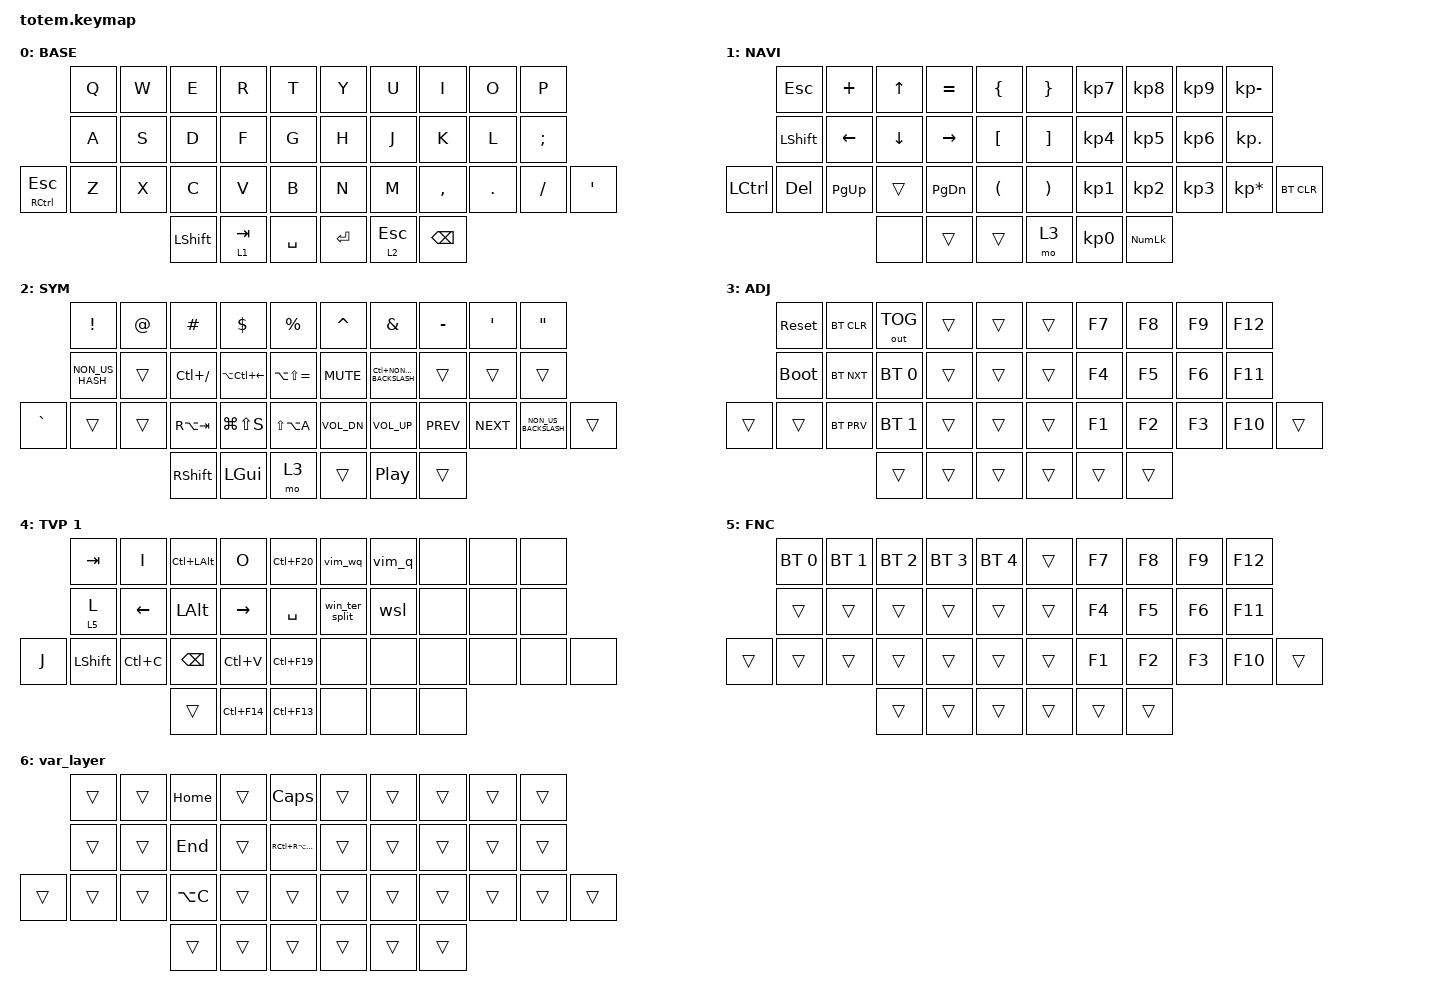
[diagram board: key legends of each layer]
//
//                                                        ▀▀▀▀▀     ▀▀▀▀▀          ▀▀█▀▀
//                                                        ▄▀▀▀▄  ▄  ▄▀▀▀▄  ▄  ▄▀▀▀▄  █  ▄▀▀▀▄
//                                                        █   █  █  █   █  █  █   █  █  █   █
//                                                         ▀▀▀   █   ▀▀▀   █   ▀▀▀   ▀   ▀▀▀
//                                                               █      ▄▄▄█▄▄▄    █   █  
//                                                               ▀      █  █  █     █▄█
//                                                             ▀▀▀▀▀    █  █  █      ▀
//                                                                      ▀  ▀  ▀
//
// ▄▄▄▄▄▄▄▄▄▄▄▄▄▄▄▄▄▄▄▄▄▄▄▄▄▄▄▄▄▄▄▄▄▄▄▄▄▄▄▄▄▄▄▄▄▄▄▄▄▄▄▄▄▄▄▄▄▄▄▄▄▄▄▄▄▄▄▄▄▄▄▄▄▄▄▄▄▄▄▄▄▄▄▄▄▄▄▄▄▄▄▄▄▄▄▄▄▄▄▄▄▄▄▄▄▄▄▄▄▄▄▄▄▄▄▄▄▄▄▄▄▄▄▄▄▄▄▄▄▄▄▄▄▄▄▄▄▄▄▄▄▄▄▄▄▄▄▄▄

#include <behaviors.dtsi>
#include <dt-bindings/zmk/bt.h>
#include <dt-bindings/zmk/keys.h>
#include <dt-bindings/zmk/outputs.h>

#define BASE 0
#define NAV  1
#define SYM  2
#define ADJ  3
#define TVP1 4
#define TVP2 5

&mt {
    quick-tap-ms = <100>;
    global-quick-tap;
    flavor = "tap-preferred";
    tapping-term-ms = <170>;
};

/ {
    combos {
        compatible = "zmk,combos";

        combo_tvp {
            timeout-ms = <100>;
            key-positions = <11 12 13>;
            bindings = <&tog 4>;
        };

        layers {
            bindings = <&tog 5>;
            key-positions = <23 24 22>;
            timeout-ms = <100>;
        };

        var_layer {
            bindings = <&tog 6>;
            key-positions = <16 17 18>;
            timeout-ms = <100>;
        };

        end {
            bindings = <&kp END>;
            key-positions = <8 9>;
        };

        home {
            bindings = <&kp HOME>;
            key-positions = <0 1>;
        };

        wombo {
            bindings = <&wombo>;
            key-positions = <2 6 7>;
        };
    };

    macros {
        gif: gif {
            label = "giphy";
            compatible = "zmk,behavior-macro";
            #binding-cells = <0>;
            bindings =
                <&macro_press>,
                <&kp LSHFT>,
                <&macro_tap>,
                <&kp N2>,
                <&macro_release>,
                <&kp LSHFT>,
                <&macro_tap>,
                <&kp G &kp I &kp F>;
        };

        vim_wq: vim_wq {
            compatible = "zmk,behavior-macro";
            #binding-cells = <0>;
            bindings = <&kp COLON &kp W &kp Q &kp EXCL &kp RET>;
            label = "VIM_WQ";
        };

        vim_q: vim_q {
            compatible = "zmk,behavior-macro";
            #binding-cells = <0>;
            bindings = <&kp COLON &kp Q &kp EXCL &kp RET>;
            label = "VIM_Q";
        };

        win_ter_split: terminal_split {
            compatible = "zmk,behavior-macro";
            #binding-cells = <0>;
            bindings =
                <&macro_press>,
                <&kp LEFT_ALT &kp LEFT_SHIFT>,
                <&macro_tap>,
                <&kp EQUAL>,
                <&macro_release>,
                <&kp LEFT_ALT &kp LEFT_SHIFT>;

            label = "TERMINAL_SPLIT";
        };

        wsl: wsl {
            compatible = "zmk,behavior-macro";
            #binding-cells = <0>;
            bindings =
                <&macro_press>,
                <&kp LEFT_WIN>,
                <&macro_tap>,
                <&kp NUMBER_1>,
                <&macro_release>,
                <&kp LEFT_WIN>,
                <&macro_tap>,
                <&kp W &kp S &kp L &kp RET>;

            label = "WSL";
        };

        wombo: wombo {
            compatible = "zmk,behavior-macro";
            #binding-cells = <0>;
            bindings = <&kp LS(C) &kp LS(L) &kp P &kp R &kp X &kp LS(Y) &kp J &kp O &kp C &kp Z &kp Z &kp Q &kp R &kp N9 &kp S &kp LS(J) &kp Z &kp Q &kp LS(F) &kp N2 &kp N7 &kp T &kp LS(W) &kp LS(X) &kp N2 &kp N4 &kp F &kp LS(V) &kp T &kp T &kp EXCL>;
            label = "WOMBO";
        };
    };

    keymap {
        compatible = "zmk,keymap";

        // ▄▄▄▄▄▄▄▄▄▄▄▄▄▄▄▄▄▄▄▄▄▄▄▄▄▄▄▄▄▄▄▄▄▄▄▄▄▄▄▄▄▄▄▄▄▄▄▄▄▄▄▄▄▄▄▄▄▄▄▄▄▄▄▄▄▄▄▄▄▄▄▄▄▄▄▄▄▄▄▄▄▄▄▄▄▄▄▄▄▄▄▄▄▄▄▄▄▄▄▄▄▄▄▄▄▄▄▄▄▄▄▄▄▄▄▄▄▄▄▄▄▄▄▄▄▄▄▄▄▄▄▄▄▄▄▄▄▄▄▄▄▄▄▄▄▄▄▄▄

        base_layer {
            // ┏━━━━━━━━━━━━━━━━━━━━━━━━━━━━━━━━━━━━━━━┓

            label = "BASE";

            // ┗━━━━━━━━━━━━━━━━━━━━━━━━━━━━━━━━━━━━━━━┛
            //             ┏━━━━━━━━━━━┳━━━━━━━━━━━┳━━━━━━━━━━━┳━━━━━━━━━━━┳━━━━━━━━━━━┓   ┏━━━━━━━━━━━┳━━━━━━━━━━━┳━━━━━━━━━━━┳━━━━━━━━━━━┳━━━━━━━━━━━┓
            //             ┃     Q     ┃     W     ┃     F     ┃     P     ┃     G     ┃   ┃     J     ┃     L     ┃     U     ┃     Y     ┃     ;     ┃
            //             ┣━━━━━━━━━━━╋━━━━━━━━━━━╋━━━━━━━━━━━╋━━━━━━━━━━━╋━━━━━━━━━━━┫   ┣━━━━━━━━━━━╋━━━━━━━━━━━╋━━━━━━━━━━━╋━━━━━━━━━━━╋━━━━━━━━━━━┫
            //             ┃     A     ┃     R     ┃     S     ┃     T     ┃     D     ┃   ┃     H     ┃     N     ┃     E     ┃     I     ┃     O     ┃
            // ┏━━━━━━━━━━━╋━━━━━━━━━━━╋━━━━━━━━━━━╋━━━━━━━━━━━╋━━━━━━━━━━━╋━━━━━━━━━━━┫   ┣━━━━━━━━━━━╋━━━━━━━━━━━╋━━━━━━━━━━━╋━━━━━━━━━━━╋━━━━━━━━━━━╋━━━━━━━━━━━┓
            // ┃     Q     ┃     Z     ┃     X     ┃     C     ┃     V     ┃     B     ┃   ┃     K     ┃     M     ┃     ,     ┃     .     ┃     /     ┃     \     ┃
            // ┗━━━━━━━━━━━┻━━━━━━━━━━━┻━━━━━━━━━━━╋━━━━━━━━━━━╋━━━━━━━━━━━╋━━━━━━━━━━━┫   ┣━━━━━━━━━━━╋━━━━━━━━━━━╋━━━━━━━━━━━╋━━━━━━━━━━━┻━━━━━━━━━━━┻━━━━━━━━━━━┛
            //                                     ┃    DEL    ┃    TAB    ┃    SPC    ┃   ┃   ENTER   ┃           ┃   BSPC    ┃
            //                                     ┗━━━━━━━━━━━┻━━━━━━━━━━━┻━━━━━━━━━━━┛   ┗━━━━━━━━━━━┻━━━━━━━━━━━┻━━━━━━━━━━━┛

            bindings = <
               &kp Q  &kp W  &kp E           &kp R      &kp T        &kp Y    &kp U      &kp I      &kp O    &kp P
               &kp A  &kp S  &kp D           &kp F      &kp G        &kp H    &kp J      &kp K      &kp L    &kp SEMI
&mt RCTRL ESC  &kp Z  &kp X  &kp C           &kp V      &kp B        &kp N    &kp M      &kp COMMA  &kp DOT  &kp FSLH  &kp APOS
                             &kp LEFT_SHIFT  &lt 1 TAB  &kp SPACE    &kp RET  &lt 2 ESC  &kp BSPC
            >;
        };

        // ▄▄▄▄▄▄▄▄▄▄▄▄▄▄▄▄▄▄▄▄▄▄▄▄▄▄▄▄▄▄▄▄▄▄▄▄▄▄▄▄▄▄▄▄▄▄▄▄▄▄▄▄▄▄▄▄▄▄▄▄▄▄▄▄▄▄▄▄▄▄▄▄▄▄▄▄▄▄▄▄▄▄▄▄▄▄▄▄▄▄▄▄▄▄▄▄▄▄▄▄▄▄▄▄▄▄▄▄▄▄▄▄▄▄▄▄▄▄▄▄▄▄▄▄▄▄▄▄▄▄▄▄▄▄▄▄▄▄▄▄▄▄▄▄▄▄▄▄▄

        nav_layer {
            // ┏━━━━━━━━━━━━━━━━━━━━━━━━━━━━━━━━━━━━━━━┓

            label = "NAVI";

            // ┗━━━━━━━━━━━━━━━━━━━━━━━━━━━━━━━━━━━━━━━┛
            //             ┏━━━━━━━━━━━┳━━━━━━━━━━━┳━━━━━━━━━━━┳━━━━━━━━━━━┳━━━━━━━━━━━┓   ┏━━━━━━━━━━━┳━━━━━━━━━━━┳━━━━━━━━━━━┳━━━━━━━━━━━┳━━━━━━━━━━━┓
            //             ┃           ┃           ┃     UP    ┃           ┃     {     ┃   ┃     }     ┃     7     ┃     8     ┃     9     ┃     +     ┃
            //             ┣━━━━━━━━━━━╋━━━━━━━━━━━╋━━━━━━━━━━━╋━━━━━━━━━━━╋━━━━━━━━━━━┫   ┣━━━━━━━━━━━╋━━━━━━━━━━━╋━━━━━━━━━━━╋━━━━━━━━━━━╋━━━━━━━━━━━┫
            //             ┃   SHIFT   ┃   LEFT    ┃    DOWN   ┃   RIGHT   ┃     [     ┃   ┃     ]     ┃     4     ┃     5     ┃     6     ┃     -     ┃
            // ┏━━━━━━━━━━━╋━━━━━━━━━━━╋━━━━━━━━━━━╋━━━━━━━━━━━╋━━━━━━━━━━━╋━━━━━━━━━━━┫   ┣━━━━━━━━━━━╋━━━━━━━━━━━╋━━━━━━━━━━━╋━━━━━━━━━━━╋━━━━━━━━━━━╋━━━━━━━━━━━┓
            // ┃           ┃           ┃   P UP    ┃  C LOCK   ┃  P DOWN   ┃     (     ┃   ┃     )     ┃     1     ┃     2     ┃     3     ┃     *     ┃           ┃
            // ┗━━━━━━━━━━━┻━━━━━━━━━━━┻━━━━━━━━━━━╋━━━━━━━━━━━╋━━━━━━━━━━━╋━━━━━━━━━━━┫   ┣━━━━━━━━━━━╋━━━━━━━━━━━╋━━━━━━━━━━━╋━━━━━━━━━━━┻━━━━━━━━━━━┻━━━━━━━━━━━┛
            //                                     ┃           ┃    TAB    ┃    SPC    ┃   ┃    DEL    ┃     0     ┃           ┃
            //                                     ┗━━━━━━━━━━━┻━━━━━━━━━━━┻━━━━━━━━━━━┛   ┗━━━━━━━━━━━┻━━━━━━━━━━━┻━━━━━━━━━━━┛

            bindings = <
                  &kp ESC    &kp PLUS   &kp UP    &kp EQUAL  &kp LBRC    &kp RBRC  &kp KP_N7  &kp KP_N8   &kp KP_N9  &kp KP_MINUS
                  &kp LSHFT  &kp LEFT   &kp DOWN  &kp RIGHT  &kp LBKT    &kp RBKT  &kp KP_N4  &kp KP_N5   &kp KP_N6  &kp KP_DOT
&kp LEFT_CONTROL  &kp DEL    &kp PG_UP  &trans    &kp PG_DN  &kp LPAR    &kp RPAR  &kp KP_N1  &kp KP_N2   &kp KP_N3  &kp KP_MULTIPLY  &bt BT_CLR
                                        &none     &trans     &trans      &mo 3     &kp KP_N0  &kp KP_NUM
            >;
        };

        // ▄▄▄▄▄▄▄▄▄▄▄▄▄▄▄▄▄▄▄▄▄▄▄▄▄▄▄▄▄▄▄▄▄▄▄▄▄▄▄▄▄▄▄▄▄▄▄▄▄▄▄▄▄▄▄▄▄▄▄▄▄▄▄▄▄▄▄▄▄▄▄▄▄▄▄▄▄▄▄▄▄▄▄▄▄▄▄▄▄▄▄▄▄▄▄▄▄▄▄▄▄▄▄▄▄▄▄▄▄▄▄▄▄▄▄▄▄▄▄▄▄▄▄▄▄▄▄▄▄▄▄▄▄▄▄▄▄▄▄▄▄▄▄▄▄▄▄▄▄

        sim_layer {
            // ┏━━━━━━━━━━━━━━━━━━━━━━━━━━━━━━━━━━━━━━━┓

            label = "SYM";

            // ┗━━━━━━━━━━━━━━━━━━━━━━━━━━━━━━━━━━━━━━━┛
            //             ┏━━━━━━━━━━━┳━━━━━━━━━━━┳━━━━━━━━━━━┳━━━━━━━━━━━┳━━━━━━━━━━━┓   ┏━━━━━━━━━━━┳━━━━━━━━━━━┳━━━━━━━━━━━┳━━━━━━━━━━━┳━━━━━━━━━━━┓
            //             ┃     !     ┃     @     ┃     #     ┃     $     ┃     %     ┃   ┃     ˆ     ┃     &     ┃     Ü     ┃     '     ┃     "     ┃
            //             ┣━━━━━━━━━━━╋━━━━━━━━━━━╋━━━━━━━━━━━╋━━━━━━━━━━━╋━━━━━━━━━━━┫   ┣━━━━━━━━━━━╋━━━━━━━━━━━╋━━━━━━━━━━━╋━━━━━━━━━━━╋━━━━━━━━━━━┫
            //             ┃     Ä     ┃           ┃    SZ     ┃           ┃           ┃   ┃   MUTE    ┃   YEN     ┃   EURO    ┃  POUND    ┃     Ö     ┃
            // ┏━━━━━━━━━━━╋━━━━━━━━━━━╋━━━━━━━━━━━╋━━━━━━━━━━━╋━━━━━━━━━━━╋━━━━━━━━━━━┫   ┣━━━━━━━━━━━╋━━━━━━━━━━━╋━━━━━━━━━━━╋━━━━━━━━━━━╋━━━━━━━━━━━╋━━━━━━━━━━━┓
            // ┃           ┃  EMAIL1   ┃  EMAIL2   ┃           ┃           ┃           ┃   ┃   VOL-    ┃   VOL+    ┃   LAST    ┃   NEXT    ┃     \     ┃           ┃
            // ┗━━━━━━━━━━━┻━━━━━━━━━━━┻━━━━━━━━━━━╋━━━━━━━━━━━╋━━━━━━━━━━━╋━━━━━━━━━━━┫   ┣━━━━━━━━━━━╋━━━━━━━━━━━╋━━━━━━━━━━━╋━━━━━━━━━━━┻━━━━━━━━━━━┻━━━━━━━━━━━┛
            //                                     ┃           ┃    GIF    ┃    ADJ    ┃   ┃           ┃           ┃           ┃
            //                                     ┗━━━━━━━━━━━┻━━━━━━━━━━━┻━━━━━━━━━━━┛   ┗━━━━━━━━━━━┻━━━━━━━━━━━┻━━━━━━━━━━━┛

            bindings = <
           &kp EXCL         &kp AT  &kp HASH         &kp DLLR                &kp PRCNT            &kp CARET     &kp AMPS                  &kp MINUS   &kp SQT     &kp DQT
           &kp NON_US_HASH  &trans  &kp LC(SLASH)    &kp LA(LC(LEFT_ARROW))  &kp LA(LS(EQUAL))    &kp C_MUTE    &kp LC(NON_US_BACKSLASH)  &trans      &trans      &trans
&kp GRAVE  &trans           &trans  &kp RA(TAB)      &kp LG(LS(S))           &kp LS(LA(A))        &kp C_VOL_DN  &kp C_VOL_UP              &kp C_PREV  &kp C_NEXT  &kp NON_US_BACKSLASH  &trans
                                    &kp RIGHT_SHIFT  &kp LEFT_GUI            &mo 3                &trans        &kp C_PP                  &trans
            >;
        };

        // ▄▄▄▄▄▄▄▄▄▄▄▄▄▄▄▄▄▄▄▄▄▄▄▄▄▄▄▄▄▄▄▄▄▄▄▄▄▄▄▄▄▄▄▄▄▄▄▄▄▄▄▄▄▄▄▄▄▄▄▄▄▄▄▄▄▄▄▄▄▄▄▄▄▄▄▄▄▄▄▄▄▄▄▄▄▄▄▄▄▄▄▄▄▄▄▄▄▄▄▄▄▄▄▄▄▄▄▄▄▄▄▄▄▄▄▄▄▄▄▄▄▄▄▄▄▄▄▄▄▄▄▄▄▄▄▄▄▄▄▄▄▄▄▄▄▄▄▄▄

        adjust_layer {
            // ┏━━━━━━━━━━━━━━━━━━━━━━━━━━━━━━━━━━━━━━━┓

            label = "ADJ";

            // ┗━━━━━━━━━━━━━━━━━━━━━━━━━━━━━━━━━━━━━━━┛
            //             ┏━━━━━━━━━━━┳━━━━━━━━━━━┳━━━━━━━━━━━┳━━━━━━━━━━━┳━━━━━━━━━━━┓   ┏━━━━━━━━━━━┳━━━━━━━━━━━┳━━━━━━━━━━━┳━━━━━━━━━━━┳━━━━━━━━━━━┓
            //             ┃   RESET   ┃ BT CLEAR  ┃  OUT TOG  ┃           ┃           ┃   ┃           ┃    F7     ┃    F8     ┃    F9     ┃    F12    ┃
            //             ┣━━━━━━━━━━━╋━━━━━━━━━━━╋━━━━━━━━━━━╋━━━━━━━━━━━╋━━━━━━━━━━━┫   ┣━━━━━━━━━━━╋━━━━━━━━━━━╋━━━━━━━━━━━╋━━━━━━━━━━━╋━━━━━━━━━━━┫
            //             ┃ BOOTLOAD  ┃ BT NEXT   ┃           ┃           ┃           ┃   ┃           ┃    F4     ┃    F5     ┃    F6     ┃    F11    ┃
            // ┏━━━━━━━━━━━╋━━━━━━━━━━━╋━━━━━━━━━━━╋━━━━━━━━━━━╋━━━━━━━━━━━╋━━━━━━━━━━━┫   ┣━━━━━━━━━━━╋━━━━━━━━━━━╋━━━━━━━━━━━╋━━━━━━━━━━━╋━━━━━━━━━━━╋━━━━━━━━━━━┓
            // ┃           ┃           ┃ BT PREV   ┃           ┃           ┃           ┃   ┃           ┃    F1     ┃    F2     ┃    F3     ┃    F10    ┃           ┃
            // ┗━━━━━━━━━━━┻━━━━━━━━━━━┻━━━━━━━━━━━╋━━━━━━━━━━━╋━━━━━━━━━━━╋━━━━━━━━━━━┫   ┣━━━━━━━━━━━╋━━━━━━━━━━━╋━━━━━━━━━━━╋━━━━━━━━━━━┻━━━━━━━━━━━┻━━━━━━━━━━━┛
            //                                     ┃           ┃           ┃           ┃   ┃           ┃           ┃           ┃
            //                                     ┗━━━━━━━━━━━┻━━━━━━━━━━━┻━━━━━━━━━━━┛   ┗━━━━━━━━━━━┻━━━━━━━━━━━┻━━━━━━━━━━━┛

            bindings = <
        &sys_reset   &bt BT_CLR  &out OUT_TOG  &trans  &trans    &trans  &kp F7  &kp F8  &kp F9  &kp F12
        &bootloader  &bt BT_NXT  &bt BT_SEL 0  &trans  &trans    &trans  &kp F4  &kp F5  &kp F6  &kp F11
&trans  &trans       &bt BT_PRV  &bt BT_SEL 1  &trans  &trans    &trans  &kp F1  &kp F2  &kp F3  &kp F10  &trans
                                 &trans        &trans  &trans    &trans  &trans  &trans
            >;
        };

        // ▄▄▄▄▄▄▄▄▄▄▄▄▄▄▄▄▄▄▄▄▄▄▄▄▄▄▄▄▄▄▄▄▄▄▄▄▄▄▄▄▄▄▄▄▄▄▄▄▄▄▄▄▄▄▄▄▄▄▄▄▄▄▄▄▄▄▄▄▄▄▄▄▄▄▄▄▄▄▄▄▄▄▄▄▄▄▄▄▄▄▄▄▄▄▄▄▄▄▄▄▄▄▄▄▄▄▄▄▄▄▄▄▄▄▄▄▄▄▄▄▄▄▄▄▄▄▄▄▄▄▄▄▄▄▄▄▄▄▄▄▄▄▄▄▄▄▄▄▄

        tvp1_layer {
            // ┏━━━━━━━━━━━━━━━━━━━━━━━━━━━━━━━━━━━━━━━┓

            label = "TVP 1";

            // ┗━━━━━━━━━━━━━━━━━━━━━━━━━━━━━━━━━━━━━━━┛
            //             ┏━━━━━━━━━━━┳━━━━━━━━━━━┳━━━━━━━━━━━┳━━━━━━━━━━━┳━━━━━━━━━━━┓   ┏━━━━━━━━━━━┳━━━━━━━━━━━┳━━━━━━━━━━━┳━━━━━━━━━━━┳━━━━━━━━━━━┓
            //             ┃ NEXT FILE ┃ MARK IN   ┃ ROTATE    ┃ MARK OUT  ┃ SHOW SNAP ┃   ┃           ┃           ┃           ┃           ┃           ┃
            //             ┣━━━━━━━━━━━╋━━━━━━━━━━━╋━━━━━━━━━━━╋━━━━━━━━━━━╋━━━━━━━━━━━┫   ┣━━━━━━━━━━━╋━━━━━━━━━━━╋━━━━━━━━━━━╋━━━━━━━━━━━╋━━━━━━━━━━━┫
            //             ┃ TVP II    ┃ LEFT      ┃ PAN       ┃ RIGHT     ┃ PLAY/FLIP ┃   ┃           ┃           ┃           ┃           ┃           ┃
            // ┏━━━━━━━━━━━╋━━━━━━━━━━━╋━━━━━━━━━━━╋━━━━━━━━━━━╋━━━━━━━━━━━╋━━━━━━━━━━━┫   ┣━━━━━━━━━━━╋━━━━━━━━━━━╋━━━━━━━━━━━╋━━━━━━━━━━━╋━━━━━━━━━━━╋━━━━━━━━━━━┓
            // ┃ FULLSCR   ┃ SHIFT     ┃ COPY      ┃ DELETE    ┃ PASTE     ┃ IMG MARK  ┃   ┃           ┃           ┃           ┃           ┃           ┃           ┃
            // ┗━━━━━━━━━━━┻━━━━━━━━━━━┻━━━━━━━━━━━╋━━━━━━━━━━━╋━━━━━━━━━━━╋━━━━━━━━━━━┫   ┣━━━━━━━━━━━╋━━━━━━━━━━━╋━━━━━━━━━━━╋━━━━━━━━━━━┻━━━━━━━━━━━┻━━━━━━━━━━━┛
            //                                     ┃           ┃ UNDO/SAVE ┃  SEL/MOV  ┃   ┃           ┃           ┃           ┃
            //                                     ┗━━━━━━━━━━━┻━━━━━━━━━━━┻━━━━━━━━━━━┛   ┗━━━━━━━━━━━┻━━━━━━━━━━━┻━━━━━━━━━━━┛

            bindings = <
       &kp TAB    &kp I      &kp LC(LALT)  &kp O        &kp LC(F20)    &vim_wq         &vim_q  &none  &none  &none
       &lt 5 L    &kp LEFT   &kp LALT      &kp RIGHT    &kp SPACE      &win_ter_split  &wsl    &none  &none  &none
&kp J  &kp LSHFT  &kp LC(C)  &kp BSPC      &kp LC(V)    &kp LC(F19)    &none           &none   &none  &none  &none  &none
                             &trans        &kp LC(F14)  &kp LC(F13)    &none           &none   &none
            >;
        };

        // ▄▄▄▄▄▄▄▄▄▄▄▄▄▄▄▄▄▄▄▄▄▄▄▄▄▄▄▄▄▄▄▄▄▄▄▄▄▄▄▄▄▄▄▄▄▄▄▄▄▄▄▄▄▄▄▄▄▄▄▄▄▄▄▄▄▄▄▄▄▄▄▄▄▄▄▄▄▄▄▄▄▄▄▄▄▄▄▄▄▄▄▄▄▄▄▄▄▄▄▄▄▄▄▄▄▄▄▄▄▄▄▄▄▄▄▄▄▄▄▄▄▄▄▄▄▄▄▄▄▄▄▄▄▄▄▄▄▄▄▄▄▄▄▄▄▄▄▄▄

        fnc_layer {
            // ┏━━━━━━━━━━━━━━━━━━━━━━━━━━━━━━━━━━━━━━━┓

            label = "FNC";

            // ┗━━━━━━━━━━━━━━━━━━━━━━━━━━━━━━━━━━━━━━━┛
            //             ┏━━━━━━━━━━━┳━━━━━━━━━━━┳━━━━━━━━━━━┳━━━━━━━━━━━┳━━━━━━━━━━━┓   ┏━━━━━━━━━━━┳━━━━━━━━━━━┳━━━━━━━━━━━┳━━━━━━━━━━━┳━━━━━━━━━━━┓
            //             ┃ SOLO      ┃ TOGGLE IN ┃ RESET ROT ┃ TOGGLE OUT┃ TAKE SNAP ┃   ┃           ┃           ┃           ┃           ┃           ┃
            //             ┣━━━━━━━━━━━╋━━━━━━━━━━━╋━━━━━━━━━━━╋━━━━━━━━━━━╋━━━━━━━━━━━┫   ┣━━━━━━━━━━━╋━━━━━━━━━━━╋━━━━━━━━━━━╋━━━━━━━━━━━╋━━━━━━━━━━━┫
            //             ┃ ---       ┃ LAST KEY  ┃ NEW KEY   ┃ NEXT KEY  ┃ ENTER     ┃   ┃           ┃           ┃           ┃           ┃           ┃
            // ┏━━━━━━━━━━━╋━━━━━━━━━━━╋━━━━━━━━━━━╋━━━━━━━━━━━╋━━━━━━━━━━━╋━━━━━━━━━━━┫   ┣━━━━━━━━━━━╋━━━━━━━━━━━╋━━━━━━━━━━━╋━━━━━━━━━━━╋━━━━━━━━━━━╋━━━━━━━━━━━┓
            // ┃           ┃ FULLSCR   ┃ CPY2BRUSH ┃ DEL HEAD  ┃ PSTinPLACE┃ BOOK MARK ┃   ┃           ┃           ┃           ┃           ┃           ┃           ┃
            // ┗━━━━━━━━━━━┻━━━━━━━━━━━┻━━━━━━━━━━━╋━━━━━━━━━━━╋━━━━━━━━━━━╋━━━━━━━━━━━┫   ┣━━━━━━━━━━━╋━━━━━━━━━━━╋━━━━━━━━━━━╋━━━━━━━━━━━┻━━━━━━━━━━━┻━━━━━━━━━━━┛
            //                                     ┃           ┃ REDO/SAV1 ┃TRANS/WARP ┃   ┃           ┃           ┃           ┃
            //                                     ┗━━━━━━━━━━━┻━━━━━━━━━━━┻━━━━━━━━━━━┛   ┗━━━━━━━━━━━┻━━━━━━━━━━━┻━━━━━━━━━━━┛

            bindings = <
        &bt BT_SEL 0  &bt BT_SEL 1  &bt BT_SEL 2  &bt BT_SEL 3  &bt BT_SEL 4    &trans  &kp F7  &kp F8  &kp F9  &kp F12
        &trans        &trans        &trans        &trans        &trans          &trans  &kp F4  &kp F5  &kp F6  &kp F11
&trans  &trans        &trans        &trans        &trans        &trans          &trans  &kp F1  &kp F2  &kp F3  &kp F10  &trans
                                    &trans        &trans        &trans          &trans  &trans  &trans
            >;
        };

        var_layer {
            bindings = <
        &trans  &trans  &kp HOME   &trans  &kp CAPSLOCK         &trans  &trans  &trans  &trans  &trans
        &trans  &trans  &kp END    &trans  &kp RC(RA(RS(M)))    &trans  &trans  &trans  &trans  &trans
&trans  &trans  &trans  &kp LA(C)  &trans  &trans               &trans  &trans  &trans  &trans  &trans  &trans
                        &trans     &trans  &trans               &trans  &trans  &trans
            >;
        };
    };
};
